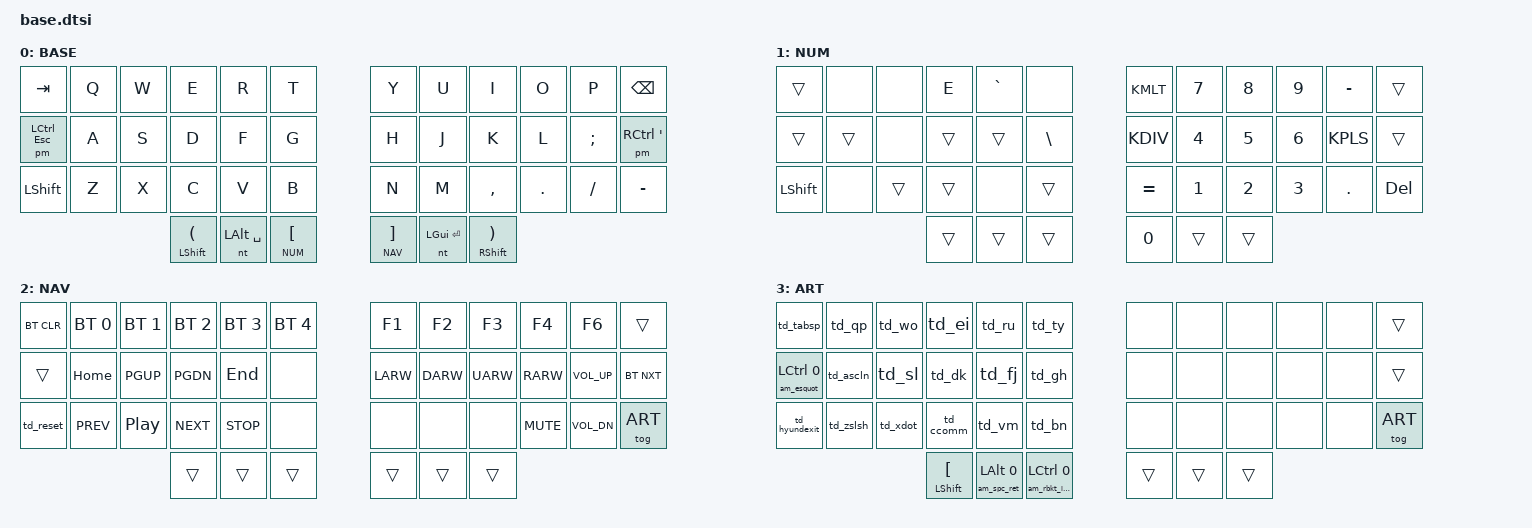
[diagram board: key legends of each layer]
/*
 * Copyright (c) 2020 The ZMK Contributors
 *
 * SPDX-License-Identifier: MIT
 */

#include <behaviors.dtsi>
#include <dt-bindings/zmk/keys.h>
#include <dt-bindings/zmk/bt.h>

// Layers
#define NUM 1
#define NAV 2
#define ART 3

#include "behaviours.dtsi"

/ {
    keymap {
        compatible = "zmk,keymap";
        default_layer {
            display-name = "BASE";
            // ┌──────┬──────┬──────┬──────┬──────┬──────┐                 ┌──────┬──────┬──────┬──────┬──────┬──────┐
            // | Tab  |  Q   |  W   |  E   |  R   |  T   |                 |   Y  |   U  |   I  |   O  |   P  |  Bsp |
            // ├──────┼──────┼──────┼──────┼──────┼──────┤                 ├──────┼──────┼──────┼──────┼──────┼──────┤
            // | Esc  |  A   |  S   |  D   |  F   |  G   |                 |   H  |   J  |   K  |   L  |   ;  |   '  |
            // | LCtrl|      |      |      |      |      |                 |      |      |      |      |      | LCtrl|
            // ├──────┼──────┼──────┼──────┼──────┼──────┤                 ├──────┼──────┼──────┼──────┼──────┼──────┤
            // |      |  Z   |  X   |  C   |  V   |  B   |                 |   N  |   M  |   ,  |   .  |   /  |   -  |
            // └──────┴──────┴──────┴──┬───┴──┬───┴──┬───┴──┐          ┌───┴──┬───┴──┬───┴──┬───┴──────┴──────┴──────┘
            //                         |  (   | Spc  |  [   |          |   ]  |  Ret |   )  |
            //                         |LShft | LAlt |*Num* |          | *Nav*| Meta | RShft|
            //                         └──────┴──────┴──────┘          └──────┴──────┴──────┘
            bindings = <
                &kp TAB       &kp Q  &kp W  &kp E  &kp R  &kp T            &kp Y  &kp U  &kp I    &kp O   &kp P    &kp BKSP
                &pm LCTRL ESC  &kp A  &kp S  &kp D  &kp F  &kp G            &kp H  &kp J  &kp K    &kp L   &kp SCLN &pm RCTRL QUOT
                &kp LSHFT      &kp Z  &kp X  &kp C  &kp V  &kp B            &kp N  &kp M  &kp CMMA &kp DOT &kp FSLH &kp MINUS
                           &mt LSHFT LPRN &nt LALT SPC &lt NUM LBKT    &lt NAV RBKT &nt LGUI RET &mt RSHFT RPRN
            >;
        };

        num_layer {
            display-name = "NUM";
            // ┌──────┬──────┬──────┬──────┬──────┬──────┐                 ┌──────┬──────┬──────┬──────┬──────┬──────┐
            // |//////|      |      |  E   |  `   |  _   |                 |   *  |   7  |   8  |   9  |   -  |//////|
            // ├──────┼──────┼──────┼──────┼──────┼──────┤                 ├──────┼──────┼──────┼──────┼──────┼──────┤
            // |//////|//////|      |  D   |  F   |  \   |                 |   /  |   4  |   5  |   6  |   +  |//////|
            // ├──────┼──────┼──────┼──────┼──────┼──────┤                 ├──────┼──────┼──────┼──────┼──────┼──────┤
            // | SHFT |      |      |//////|      |//////|                 |   =  |   1  |   2  |   3  |   .  |  Del |
            // └──────┴──────┴──────┴──┬───┴──┬───┴──┬───┴──┐          ┌───┴──┬───┴──┬───┴──┬───┴──────┴──────┴──────┘
            //                         |//////|//////|*Pad* |          | 0    |//////|//////|
            //                         └──────┴──────┴──────┘          └──────┴──────┴──────┘
            bindings = <
                &trans    &none   &none   &kp E   &kp GRAV  &none         &kp KMLT  &kp NUM_7  &kp NUM_8  &kp NUM_9  &kp MINUS  &trans
                &trans    &trans  &none   &trans  &trans    &kp BSLH      &kp KDIV  &kp NUM_4  &kp NUM_5  &kp NUM_6  &kp KPLS   &trans
                &kp LSHFT  &none   &trans  &trans  &none     &trans        &kp EQL   &kp NUM_1  &kp NUM_2  &kp NUM_3  &kp DOT    &kp DEL
                                           &trans  &trans  &trans    &kp NUM_0  &trans  &trans
            >;
        };
 
        nav_layer {
            display-name = "NAV";
            // ┌──────┬──────┬──────┬──────┬──────┬──────┐                 ┌──────┬──────┬──────┬──────┬──────┬──────┐
            // |BT_CLR|BT P0 |BT P1 |BT P2 |BT P3 |BT P4 |                 |  F1  |  F2  |  F3  |  F4  |  F6  |//////|
            // ├──────┼──────┼──────┼──────┼──────┼──────┤                 ├──────┼──────┼──────┼──────┼──────┼──────┤
            // |//////| Home | PgUp | PgDn | End  |      |                 |   ←  |   ↓  |   ↑  |   →  | Vol+ |BT_NXT|
            // ├──────┼──────┼──────┼──────┼──────┼──────┤                 ├──────┼──────┼──────┼──────┼──────┼──────┤
            // | RESET| Prev | Play | Next | Stop |      |                 |      |      |      | Mute | Vol- |  ART |
            // └──────┴──────┴──────┴──┬───┴──┬───┴──┬───┴──┐          ┌───┴──┬───┴──┬───┴──┬───┴──────┴──────┴──────┘
            //                         |//////|//////|//////|          | *Nav*|//////|//////|
            //                         └──────┴──────┴──────┘          └──────┴──────┴──────┘
            bindings = <
                &bt BT_CLR  &bt BT_SEL 0  &bt BT_SEL 1  &bt BT_SEL 2  &bt BT_SEL 3  &bt BT_SEL 4      &kp F1    &kp F2    &kp F3    &kp F4      &kp F6        &trans
                &trans      &kp HOME      &kp PGUP      &kp PGDN      &kp END       &none             &kp LARW  &kp DARW  &kp UARW  &kp RARW    &kp C_VOL_UP  &bt BT_NXT
                &td_reset   &kp C_PREV    &kp C_PP      &kp C_NEXT    &kp C_STOP    &none             &none     &none     &none     &kp C_MUTE  &kp C_VOL_DN  &tog ART
                                             &trans  &trans  &trans   &trans  &trans  &trans
            >;
        };
 
        art_layer {
            display-name = "ART";
            // Condensed layout with common Krita functions collapsed onto left half of
            // keyboard. Only fall through mod functions on right half.
            // ┌──────┬──────┬──────┬──────┬──────┬──────┐
            // |TABSP |  QP  |  WO  |  EI  |  RU  |  TY  |
            // ├──────┼──────┼──────┼──────┼──────┼──────┤
            // |ESCQUO|  A;  |  SL  |  DK  |  FJ  |  GH  |
            // ├──────┼──────┼──────┼──────┼──────┼──────┤
            // |-_EXIT|  Z/  |  X.  |  C,  |  VM  |  BN  |
            // └──────┴──────┴──────┴──┬───┴──┬───┴──┬───┴──┐
            //                         | LBKT |SPCRET|RB/INS|
            //                         | LSFT | LALT |LCTRL |
            //                         └──────┴──────┴──────┘
            bindings = <
                &td_tabsp           &td_qp    &td_wo    &td_ei    &td_ru  &td_ty       &none  &none  &none  &none  &none  &trans
                &am_esquot LCTRL 0  &td_ascln &td_sl    &td_dk    &td_fj  &td_gh       &none  &none  &none  &none  &none  &trans
                &td_hyundexit       &td_zslsh &td_xdot  &td_ccomm &td_vm  &td_bn       &none  &none  &none  &none  &none  &tog ART
                           &mt LSHFT LBKT  &am_spc_ret LALT 0  &am_rbkt_ins LCTRL 0       &trans  &trans  &trans
            >;
        };
    };
};

